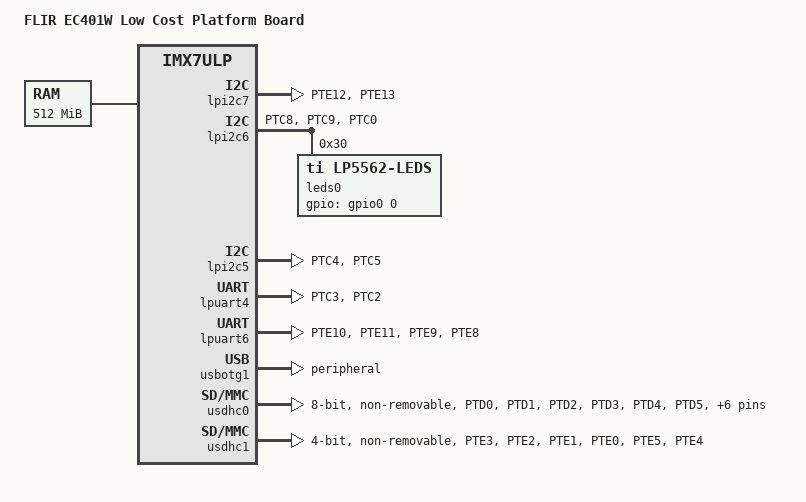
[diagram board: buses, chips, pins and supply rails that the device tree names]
/*
 * Copyright 2018 FLIR
 *
 * This program is free software; you can redistribute it and/or modify
 * it under the terms of the GNU General Public License version 2 as
 * published by the Free Software Foundation.
 */

/dts-v1/;

#include "imx7ulp.dtsi"

/ {
	model = "FLIR EC401W Low Cost Platform Board";
	compatible = "flir,imx7ulp-ec401w", "fsl,imx7ulp", "Generic DT based system";

	chosen {
		stdout-path = &lpuart4;
	};

	memory {
		device_type = "memory";
		reg = <0x60000000 0x20000000>;
	};

	regulators {
		compatible = "simple-bus";
		#address-cells = <1>;
		#size-cells = <0>;
	};
};

&iomuxc1 {
	pinctrl-names = "default";

	pinctrl_usdhc0: usdhc0grp {
		fsl,pins = <
			IMX7ULP_PAD_PTD0__PTD0         0x20000     /* USDHC0 RST */
			IMX7ULP_PAD_PTD1__SDHC0_CMD    0x43
			IMX7ULP_PAD_PTD2__SDHC0_CLK    0x10042
			IMX7ULP_PAD_PTD3__SDHC0_D7     0x43
			IMX7ULP_PAD_PTD4__SDHC0_D6     0x43
			IMX7ULP_PAD_PTD5__SDHC0_D5     0x43
			IMX7ULP_PAD_PTD6__SDHC0_D4     0x43
			IMX7ULP_PAD_PTD7__SDHC0_D3     0x43
			IMX7ULP_PAD_PTD8__SDHC0_D2     0x43
			IMX7ULP_PAD_PTD9__SDHC0_D1     0x43
			IMX7ULP_PAD_PTD10__SDHC0_D0    0x43
			IMX7ULP_PAD_PTD11__SDHC0_DQS   0x42
		>;
	};

	pinctrl_usdhc1: usdhc1grp {
		fsl,pins = <
			IMX7ULP_PAD_PTE3__SDHC1_CMD    0x43
			IMX7ULP_PAD_PTE2__SDHC1_CLK    0x10042
			IMX7ULP_PAD_PTE1__SDHC1_D0     0x43
			IMX7ULP_PAD_PTE0__SDHC1_D1     0x43
			IMX7ULP_PAD_PTE5__SDHC1_D2     0x43
			IMX7ULP_PAD_PTE4__SDHC1_D3     0x43
		>;
	};

	pinctrl_lpi2c5: lpi2c5grp {
		fsl,pins = <
			IMX7ULP_PAD_PTC4__LPI2C5_SCL   0x27
			IMX7ULP_PAD_PTC5__LPI2C5_SDA   0x27
		>;
	};

	pinctrl_lpi2c6: lpi2c6grp {
		fsl,pins = <
			IMX7ULP_PAD_PTC8__LPI2C6_SCL   0x27
			IMX7ULP_PAD_PTC9__LPI2C6_SDA   0x27
			IMX7ULP_PAD_PTC0__PTC0       0x20000 /* LED_EN */
		>;
	};

	pinctrl_lpi2c7: lpi2c7grp {
		fsl,pins = <
			IMX7ULP_PAD_PTE12__LPI2C7_SCL   0x27
			IMX7ULP_PAD_PTE13__LPI2C7_SDA   0x27
		>;
	};

	pinctrl_lpuart4: lpuart4grp {
		fsl,pins = <
			IMX7ULP_PAD_PTC3__LPUART4_RX   0x3
			IMX7ULP_PAD_PTC2__LPUART4_TX   0x3
		>;
	};

	pinctrl_lpuart6: lpuart6grp {
		fsl,pins = <
			IMX7ULP_PAD_PTE10__LPUART6_TX      0x3
			IMX7ULP_PAD_PTE11__LPUART6_RX      0x3
			IMX7ULP_PAD_PTE9__LPUART6_RTS_B    0x3
			IMX7ULP_PAD_PTE8__LPUART6_CTS_B    0x3
		>;
	};
};

/* Touch screen */
&lpi2c7 {
	#address-cells = <1>;
	#size-cells = <0>;
	pinctrl-names = "default",  "sleep";
	pinctrl-0 = <&pinctrl_lpi2c7>;
	pinctrl-1 = <&pinctrl_lpi2c7>;
	status = "okay";
};

/*  IO expander for keyboard, VCAM, Lepton, Temp sensor 1 and 2, EEPROM */
&lpi2c6 {
	#address-cells = <1>;
	#size-cells = <0>;
	pinctrl-names = "default", "sleep";
	pinctrl-0 = <&pinctrl_lpi2c6>;
	pinctrl-1 = <&pinctrl_lpi2c6>;
	status = "okay";

	leds0: lp5562@30 {
		compatible = "ti,lp5562-leds";
		#address-cells = <1>;
		#size-cells = <0>;
		gpios = <&gpio0 0 GPIO_ACTIVE_HIGH>;
		reg = <0x30>;

		led0@0 {
			reg = <0x2>; /* B */
			label = "3";
			ti,led_current = <0x32>; /* 0.5ma */
		};
		led1@1 {
			reg = <0x3>; /* G */
			label = "2";
			ti,led_current = <0x32>; /* 0.5ma */
		};
		led2@2 {
			reg = <0x4>; /* R */
			label = "1";
			ti,led_current = <0x32>; /* 0.5ma */
		};
		led3@3 {
			reg = <0xE>;
			label = "r"; /* W */
			ti,led_current = <0x32>; /* 0.5ma */
		};
	};
};

/*  PMIC */
&lpi2c5 {
	#address-cells = <1>;
	#size-cells = <0>;
	pinctrl-names = "default", "sleep";
	pinctrl-0 = <&pinctrl_lpi2c5>;
	pinctrl-1 = <&pinctrl_lpi2c5>;
	status = "okay";
};

&lpuart4 { /* console */
	pinctrl-names = "default", "sleep";
	pinctrl-0 = <&pinctrl_lpuart4>;
	pinctrl-1 = <&pinctrl_lpuart4>;
	status = "okay";
};

&lpuart6 { /* BT */
	pinctrl-names = "default", "sleep";
	pinctrl-0 = <&pinctrl_lpuart6>;
	pinctrl-1 = <&pinctrl_lpuart6>;
	status = "okay";
};

&usbotg1 {
	dr_mode = "peripheral";
	srp-disable;
	hnp-disable;
	adp-disable;
	status = "okay";
};

/* emmc */
&usdhc0 {
	pinctrl-names = "default", "sleep";
	pinctrl-0 = <&pinctrl_usdhc0>;
	pinctrl-1 = <&pinctrl_usdhc0>;
	bus-width = <8>;
	non-removable;
	status = "okay";
};

/* wifi */
&usdhc1 {
	pinctrl-names = "default", "sleep";
	pinctrl-0 = <&pinctrl_usdhc1>;
	pinctrl-1 = <&pinctrl_usdhc1>;
	bus-width = <4>;
	pm-ignore-notify;
	keep-power-in-suspend;
	non-removable;
	wifi-host;
	status = "okay";
};
